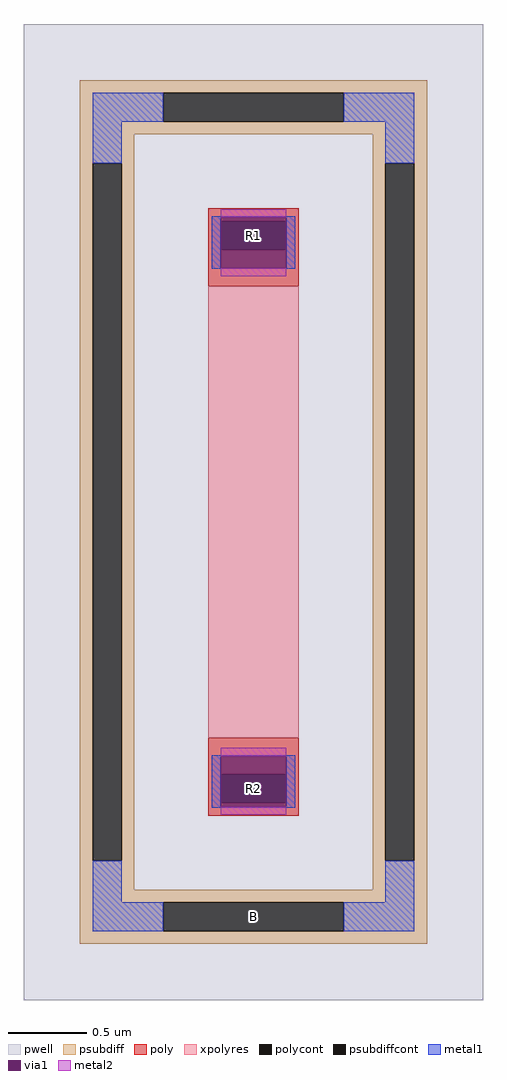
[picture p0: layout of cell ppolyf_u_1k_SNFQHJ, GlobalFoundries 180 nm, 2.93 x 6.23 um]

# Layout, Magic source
magic
tech gf180mcuD
magscale 3 26
<< pwell >>
rect -254 -540 254 540
<< psubdiff >>
rect -192 464 192 478
rect -192 432 -100 464
rect 100 432 192 464
rect -192 418 192 432
rect -192 386 -132 418
rect -192 -386 -178 386
rect -146 -386 -132 386
rect 132 386 192 418
rect -192 -418 -132 -386
rect 132 -386 146 386
rect 178 -386 192 386
rect 132 -418 192 -386
rect -192 -432 192 -418
rect -192 -464 -100 -432
rect 100 -464 192 -432
rect -192 -478 192 -464
<< psubdiffcont >>
rect -100 432 100 464
rect -178 -386 -146 386
rect 146 -386 178 386
rect -100 -464 100 -432
<< poly >>
rect -50 322 50 336
rect -50 290 -36 322
rect 36 290 50 322
rect -50 250 50 290
rect -50 -290 50 -250
rect -50 -322 -36 -290
rect 36 -322 50 -290
rect -50 -336 50 -322
<< polycont >>
rect -36 290 36 322
rect -36 -322 36 -290
<< xpolyres >>
rect -50 -250 50 250
<< metal1 >>
rect -178 432 -100 464
rect 100 432 178 464
rect -178 386 -146 432
rect 146 386 178 432
rect -46 326 46 327
rect -46 270 -36 326
rect 36 270 46 326
rect -46 269 46 270
rect -46 -270 46 -269
rect -46 -326 -36 -270
rect 36 -326 46 -270
rect -46 -327 46 -326
rect -178 -432 -146 -386
rect 146 -432 178 -386
rect -178 -464 -100 -432
rect 100 -464 178 -432
<< via1 >>
rect -36 322 36 326
rect -36 290 36 322
rect -36 270 36 290
rect -36 -290 36 -270
rect -36 -322 36 -290
rect -36 -326 36 -322
<< metal2 >>
rect -36 326 36 335
rect -36 261 36 270
rect -36 -270 36 -261
rect -36 -335 36 -326
<< labels >>
rlabel psubdiffcont 0 -448 0 -448 0 B
port 22 nsew
rlabel polycont 0 306 0 306 0 R1
port 23 nsew
rlabel polycont 0 -306 0 -306 0 R2
port 24 nsew
<< properties >>
string FIXED_BBOX -162 -448 162 448
string gencell ppolyf_u_1k
string library gf180mcu
string MASKHINTS_CONTBAR
string parameters w 0.5 l 2.5 m 1 nx 1 wmin 0.50 lmin 0.50 class resistor rho 1360 val 6.8k dummy 0 dw 0.0 term 0.0 sterm 0.0 caplen 0 bar 1 guard 1 glc 1 grc 1 gtc 1 gbc 1 snake 0 full_metal 1 n_guard 0 hv_guard 0 vias 1 viagb 0 viagt 0 viagl 0 viagr 0 doports 1 b 0
<< end >>
